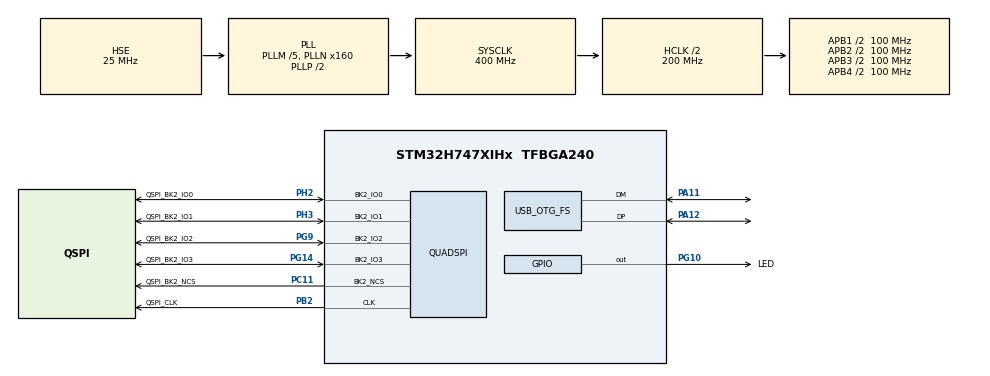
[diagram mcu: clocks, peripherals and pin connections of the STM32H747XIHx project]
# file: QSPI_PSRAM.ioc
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CORTEX_M7.AccessPermission_S-Cortex_Memory_Protection_Unit_Region2_Settings_S=MPU_REGION_FULL_ACCESS
CORTEX_M7.BaseAddress_S-Cortex_Memory_Protection_Unit_Region2_Settings_S=QSPI_BASE_ADDRESS
CORTEX_M7.CPU_DCache=Enabled
CORTEX_M7.CPU_ICache=Enabled
CORTEX_M7.DisableExec_S-Cortex_Memory_Protection_Unit_Region2_Settings_S=MPU_INSTRUCTION_ACCESS_DISABLE
CORTEX_M7.Enable_S-Cortex_Memory_Protection_Unit_Region2_Settings_S=MPU_REGION_ENABLE
CORTEX_M7.Enable_Spec=__NULL
CORTEX_M7.MPU_Control=MPU_PRIVILEGED_DEFAULT
CORTEX_M7.Size_S-Cortex_Memory_Protection_Unit_Region2_Settings_S=MPU_REGION_SIZE_8MB
CORTEX_M7.TypeExtField_S-Cortex_Memory_Protection_Unit_Region2_Settings_S=MPU_TEX_LEVEL1
CORTEX_M7.default_mode_Activation=1
CortexM4.IPs=CORTEX_M4\:I,FATFS_M4\:I,FREERTOS_M4\:I,IWDG2\:I,OPENAMP_M4\:I,PDM2PCM_M4\:I,PWR,RCC,RESMGR_UTILITY,SYS_M4\:I,USB_DEVICE_M4\:I,USB_HOST_M4\:I,VREFBUF,WWDG2\:I,GPIO,DMA,BDMA,MDMA,NVIC2\:I,DEBUG
CortexM7.IPs=CORTEX_M7\:I,FATFS_M7\:I,FREERTOS_M7\:I,IWDG1\:I,OPENAMP_M7\:I,PDM2PCM_M7\:I,PWR\:I,RCC\:I,RESMGR_UTILITY\:I,SYS\:I,USB_DEVICE_M7\:I,USB_HOST_M7\:I,VREFBUF\:I,WWDG1\:I,GPIO\:I,DMA\:I,BDMA\:I,MDMA\:I,NVIC1\:I,DEBUG\:I,QUADSPI\:I,USB_OTG_FS\:I
CortexM7.Pins=PG10
Mcu.Family=STM32H7
Mcu.Name=STM32H747XIHx
Mcu.Package=TFBGA240
Mcu.UserConstants=QSPI_BASE_ADDRESS-CortexM7,0x90000000;QSPI_FLASH_SIZE-CortexM7,22;QSPI_PRESCALE-CortexM7,2
Mdma.MDMA_Channel0.QUADSPI_FIFO_TH.0.BlockCount=0
Mdma.MDMA_Channel0.QUADSPI_FIFO_TH.0.BlockDataLength=0
Mdma.MDMA_Channel0.QUADSPI_FIFO_TH.0.BufferTransferLength=4
Mdma.MDMA_Channel0.QUADSPI_FIFO_TH.0.CircularMode=MDMA_LINEAR_LIST
Mdma.MDMA_Channel0.QUADSPI_FIFO_TH.0.DataAlignment=MDMA_DATAALIGN_PACKENABLE
Mdma.MDMA_Channel0.QUADSPI_FIFO_TH.0.DestBlockAddressOffset=0
Mdma.MDMA_Channel0.QUADSPI_FIFO_TH.0.DestBurst=MDMA_DEST_BURST_SINGLE
Mdma.MDMA_Channel0.QUADSPI_FIFO_TH.0.DestDataSize=MDMA_DEST_DATASIZE_BYTE
Mdma.MDMA_Channel0.QUADSPI_FIFO_TH.0.DestinationInc=MDMA_DEST_INC_DISABLE
Mdma.MDMA_Channel0.QUADSPI_FIFO_TH.0.DstAddress=0
Mdma.MDMA_Channel0.QUADSPI_FIFO_TH.0.Endianness=MDMA_LITTLE_ENDIANNESS_PRESERVE
Mdma.MDMA_Channel0.QUADSPI_FIFO_TH.0.Instance=MDMA_Channel0
Mdma.MDMA_Channel0.QUADSPI_FIFO_TH.0.MaskAddress=0
Mdma.MDMA_Channel0.QUADSPI_FIFO_TH.0.MaskData=0
Mdma.MDMA_Channel0.QUADSPI_FIFO_TH.0.Priority=MDMA_PRIORITY_LOW
Mdma.MDMA_Channel0.QUADSPI_FIFO_TH.0.Rank=First
Mdma.MDMA_Channel0.QUADSPI_FIFO_TH.0.SourceBlockAddressOffset=0
Mdma.MDMA_Channel0.QUADSPI_FIFO_TH.0.SourceBurst=MDMA_SOURCE_BURST_SINGLE
Mdma.MDMA_Channel0.QUADSPI_FIFO_TH.0.SourceDataSize=MDMA_SRC_DATASIZE_BYTE
Mdma.MDMA_Channel0.QUADSPI_FIFO_TH.0.SourceInc=MDMA_SRC_INC_BYTE
Mdma.MDMA_Channel0.QUADSPI_FIFO_TH.0.SrcAddress=0
Mdma.MDMA_Channel0.QUADSPI_FIFO_TH.0.TransferTriggerMode=MDMA_BUFFER_TRANSFER
Mdma.MDMA_Channel0.Request0=QUADSPI_FIFO_TH
Mdma.MDMA_Channel0.RequestsNb=1
Mdma.RequestSet0=MDMA_Channel0
Mdma.RequestSetsNb=1
NVIC1.MDMA_IRQn=true\:1\:0\:true\:false\:true\:false\:true\:true
NVIC1.OTG_FS_IRQn=true\:2\:0\:true\:false\:true\:false\:true\:true
NVIC1.PriorityGroup=NVIC_PRIORITYGROUP_4
NVIC1.QUADSPI_IRQn=true\:0\:0\:true\:false\:true\:true\:true\:true
NVIC2.PriorityGroup=NVIC_PRIORITYGROUP_4
PA11.Mode=Device_Only
PA11.PinAttribute=CortexM7
PA11.Signal=USB_OTG_FS_DM
PA12.Mode=Device_Only
PA12.PinAttribute=CortexM7
PA12.Signal=USB_OTG_FS_DP
PA13\ (JTMS/SWDIO).Mode=Serial_Wire
PA13\ (JTMS/SWDIO).PinAttribute=CortexM7
PA13\ (JTMS/SWDIO).Signal=DEBUG_JTMS-SWDIO
PA14\ (JTCK/SWCLK).Mode=Serial_Wire
PA14\ (JTCK/SWCLK).PinAttribute=CortexM7
PA14\ (JTCK/SWCLK).Signal=DEBUG_JTCK-SWCLK
PB2.GPIO_Label=QSPI_CLK
PB2.GPIO_Speed=GPIO_SPEED_FREQ_VERY_HIGH
PB2.Mode=Single Bank 2
PB2.PinAttribute=CortexM7
PB2.Signal=QUADSPI_CLK
PC11.GPIO_Label=QSPI_BK2_NCS
PC11.GPIO_PuPd=GPIO_PULLUP
PC11.GPIO_Speed=GPIO_SPEED_FREQ_VERY_HIGH
PC11.Mode=Single Bank 2
PC11.PinAttribute=CortexM7
PC11.Signal=QUADSPI_BK2_NCS
PC14-OSC32_IN\ (OSC32_IN).Mode=LSE-External-Oscillator
PC14-OSC32_IN\ (OSC32_IN).PinAttribute=Free
PC14-OSC32_IN\ (OSC32_IN).Signal=RCC_OSC32_IN
PC15-OSC32_OUT\ (OSC32_OUT).Mode=LSE-External-Oscillator
PC15-OSC32_OUT\ (OSC32_OUT).PinAttribute=Free
PC15-OSC32_OUT\ (OSC32_OUT).Signal=RCC_OSC32_OUT
PG10.GPIO_Label=LED
PG10.GPIO_ModeDefaultOutputPP=GPIO_MODE_OUTPUT_OD
PG10.GPIO_PuPd=GPIO_NOPULL
PG10.PinAttribute=CortexM7
PG10.PinState=GPIO_PIN_RESET
PG10.Signal=GPIO_Output
PG14.GPIO_Label=QSPI_BK2_IO3
PG14.GPIO_Speed=GPIO_SPEED_FREQ_VERY_HIGH
PG14.Mode=Single Bank 2
PG14.PinAttribute=CortexM7
PG14.Signal=QUADSPI_BK2_IO3
PG9.GPIO_Label=QSPI_BK2_IO2
PG9.GPIO_Speed=GPIO_SPEED_FREQ_VERY_HIGH
PG9.Mode=Single Bank 2
PG9.PinAttribute=CortexM7
PG9.Signal=QUADSPI_BK2_IO2
PH0-OSC_IN\ (PH0).Mode=HSE-External-Oscillator
PH0-OSC_IN\ (PH0).PinAttribute=Free
PH0-OSC_IN\ (PH0).Signal=RCC_OSC_IN
PH1-OSC_OUT\ (PH1).Mode=HSE-External-Oscillator
PH1-OSC_OUT\ (PH1).PinAttribute=Free
PH1-OSC_OUT\ (PH1).Signal=RCC_OSC_OUT
PH2.GPIO_Label=QSPI_BK2_IO0
PH2.GPIO_Speed=GPIO_SPEED_FREQ_VERY_HIGH
PH2.Mode=Single Bank 2
PH2.PinAttribute=CortexM7
PH2.Signal=QUADSPI_BK2_IO0
PH3.GPIO_Label=QSPI_BK2_IO1 
PH3.GPIO_Speed=GPIO_SPEED_FREQ_VERY_HIGH
PH3.Mode=Single Bank 2
PH3.PinAttribute=CortexM7
PH3.Signal=QUADSPI_BK2_IO1
ProjectManager.HeapSize=M4-0x0,M7-0x0
ProjectManager.StackSize=M4-0x400,M7-0x400
ProjectManager.TargetToolchain=MDK-ARM V5.32
QUADSPI.ChipSelectHighTime=QSPI_CS_HIGH_TIME_2_CYCLE
QUADSPI.ClockPrescaler=(QSPI_PRESCALE-1)
QUADSPI.DeviceType=SPI_DEVICE_RAM
QUADSPI.FifoThreshold=2
QUADSPI.FlashSize=QSPI_FLASH_SIZE
QUADSPI.SampleShifting=QSPI_SAMPLE_SHIFTING_HALFCYCLE
RCC.ADCFreq_Value=20000000
RCC.APB1Freq_Value=100000000
RCC.APB2Freq_Value=100000000
RCC.APB3Freq_Value=100000000
RCC.APB4Freq_Value=100000000
RCC.CortexFreq_Value=400000000
RCC.D1PPRE=RCC_APB3_DIV2
RCC.D2PPRE1=RCC_APB1_DIV2
RCC.D2PPRE2=RCC_APB2_DIV2
RCC.D3PPRE=RCC_APB4_DIV2
RCC.DIVM1=5
RCC.DIVM2=5
RCC.DIVM3=5
RCC.DIVN1=160
RCC.DIVN2=8
RCC.DIVN3=96
RCC.DIVQ1=5
RCC.DIVQ3=10
RCC.HCLKFreq_Value=200000000
RCC.HPRE=RCC_HCLK_DIV2
RCC.PLL2FRACN=0
RCC.PLL3FRACN=0
RCC.PLLFRACN=0
RCC.PLLSourceVirtual=RCC_PLLSOURCE_HSE
RCC.PWR_Regulator_Voltage_Scale=PWR_REGULATOR_VOLTAGE_SCALE1
RCC.QSPICLockSelection=RCC_QSPICLKSOURCE_PLL
RCC.SYSCLKFreq_VALUE=400000000
RCC.SYSCLKSource=RCC_SYSCLKSOURCE_PLLCLK
RCC.SupplySource=PWR_SMPS_1V8_SUPPLIES_EXT_AND_LDO
RCC.USBCLockSelection=RCC_USBCLKSOURCE_PLL3
RCC.USBFreq_Value=48000000
SYS.userName=SYS_M7
USB_DEVICE_M7.APP_RX_DATA_SIZE-CDC_FS=64
USB_DEVICE_M7.APP_TX_DATA_SIZE-CDC_FS=1024
USB_DEVICE_M7.CLASS_NAME_FS=CDC
USB_DEVICE_M7.VirtualMode-CDC_FS=Cdc
USB_DEVICE_M7.VirtualModeFS=Cdc_FS
USB_OTG_FS.VirtualMode=Device_Only
VP_SYS_M4_VS_Systick.Mode=SysTick
VP_USB_DEVICE_M7_VS_USB_DEVICE_CDC_FS.Mode=CDC_FS
board=custom

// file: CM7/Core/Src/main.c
/* USER CODE BEGIN Header */
/**
  ******************************************************************************
  * @file           : main.c
  * @brief          : Main program body
  ******************************************************************************
  * @attention
  *
  * Copyright (c) 2025 STMicroelectronics.
  * All rights reserved.
  *
  * This software is licensed under terms that can be found in the LICENSE file
  * in the root directory of this software component.
  * If no LICENSE file comes with this software, it is provided AS-IS.
  *
  ******************************************************************************
  */
/* USER CODE END Header */
#include "main.h"
#include "mdma.h"
#include "quadspi.h"
#include "usb_device.h"
#include "gpio.h"

/* USER CODE BEGIN PD */

#ifndef HSEM_ID_0
#define HSEM_ID_0 (0U) /* HW semaphore 0*/
#endif

/* USER CODE END PD */

void SystemClock_Config(void);
static void MPU_Config(void);

int main(void)
{

/* USER CODE BEGIN Boot_Mode_Sequence_0 */

/* USER CODE END Boot_Mode_Sequence_0 */

  /* MPU Configuration--------------------------------------------------------*/
  MPU_Config();

  /* Enable the CPU Cache */

  /* Enable I-Cache---------------------------------------------------------*/
  SCB_EnableICache();

  /* Enable D-Cache---------------------------------------------------------*/
  SCB_EnableDCache();

/* USER CODE BEGIN Boot_Mode_Sequence_1 */

	/* Wait until CPU2 boots and enters in stop mode or timeout*/
	{
		int32_t timeout = 0xFFFF;
		while((__HAL_RCC_GET_FLAG(RCC_FLAG_D2CKRDY) != RESET) && (timeout-- > 0));
		if ( timeout < 0 )
		{
			Error_Handler();
		}
	}

/* USER CODE END Boot_Mode_Sequence_1 */
  /* MCU Configuration--------------------------------------------------------*/

  /* Reset of all peripherals, Initializes the Flash interface and the Systick. */
  HAL_Init();

  /* Configure the system clock */
  SystemClock_Config();
/* USER CODE BEGIN Boot_Mode_Sequence_2 */

	{
		/* When system initialization is finished, Cortex-M7 will release Cortex-M4 by means of HSEM notification */
		/* HW semaphore Clock enable */
		__HAL_RCC_HSEM_CLK_ENABLE();

		/* Take HSEM */
		HAL_HSEM_FastTake(HSEM_ID_0);

		/* Release HSEM in order to notify the CPU2(CM4) */
		HAL_HSEM_Release(HSEM_ID_0,0);

		/* wait until CPU2 wakes up from stop mode */
		int32_t timeout = 0xFFFF;
		while((__HAL_RCC_GET_FLAG(RCC_FLAG_D2CKRDY) == RESET) && (timeout-- > 0));
		if ( timeout < 0 )
		{
			Error_Handler();
		}
	}
/* USER CODE END Boot_Mode_Sequence_2 */

  /* Initialize all configured peripherals */
  MX_GPIO_Init();
  MX_MDMA_Init();
  MX_QUADSPI_Init();
  MX_USB_DEVICE_Init();
  /* USER CODE BEGIN 2 */

	{
#define PSRAM_BLOCK_SIZE	1024
		static uint8_t psram_buffer[PSRAM_BLOCK_SIZE];
		uint32_t psram_size = 1 << (QSPI_FLASH_SIZE + 0);
		uint32_t address, block;
		uint8_t mask = 0x55;

		block = 0;
		address = 0;

		while (address < psram_size)
		{
			for (int idx = 0; idx < PSRAM_BLOCK_SIZE; idx++)
			{
				psram_buffer[idx] = (((idx + block) ^ mask) & 0xFF);
				mask ^= 0xAA;
			}
			if (QSPI_PSRAM_Write(address, psram_buffer, PSRAM_BLOCK_SIZE) != HAL_OK)
				__BKPT(0);
			while (hqspi.State != HAL_QSPI_STATE_READY)
				__NOP();
			address += PSRAM_BLOCK_SIZE;
			block++;
		}

		block = 0;
		address = 0;
		while (address < psram_size)
		{
			if (QSPI_PSRAM_Read(address, psram_buffer, PSRAM_BLOCK_SIZE) != HAL_OK)
				__BKPT(0);
			while (hqspi.State != HAL_QSPI_STATE_READY)
				__NOP();
			for (int idx = 0; idx < PSRAM_BLOCK_SIZE; idx++)
			{
				if (psram_buffer[idx] != (((idx + block) ^ mask) & 0xFF))
					__NOP();
				mask ^= 0xAA;
			}
			address += PSRAM_BLOCK_SIZE;
			block++;
		}
	}
	QSPI_PSRAM_StartMemoryMapped();

  /* USER CODE END 2 */

  /* Infinite loop */
  /* USER CODE BEGIN WHILE */

	uint32_t  lastTick = HAL_GetTick();
	uint32_t  newTick = lastTick;
	uint32_t  ledTick = lastTick;

	for (;;)
	{
		newTick = HAL_GetTick();
		if (newTick != lastTick)
		{
			lastTick = newTick;
			void SendTxUSB(void);
			SendTxUSB();
		}
		if ((newTick - ledTick) > 500)
		{
			ledTick = newTick;
			HAL_GPIO_TogglePin(LED_GPIO_Port, LED_Pin);
		}

    /* USER CODE END WHILE */

	}
}

void SystemClock_Config(void)
{
  RCC_OscInitTypeDef RCC_OscInitStruct = {0};
  RCC_ClkInitTypeDef RCC_ClkInitStruct = {0};

  /** Supply configuration update enable
  */
  HAL_PWREx_ConfigSupply(PWR_SMPS_1V8_SUPPLIES_EXT_AND_LDO);

  /** Configure the main internal regulator output voltage
  */
  __HAL_PWR_VOLTAGESCALING_CONFIG(PWR_REGULATOR_VOLTAGE_SCALE1);

  while(!__HAL_PWR_GET_FLAG(PWR_FLAG_VOSRDY)) {}

  /** Initializes the RCC Oscillators according to the specified parameters
  * in the RCC_OscInitTypeDef structure.
  */
  RCC_OscInitStruct.OscillatorType = RCC_OSCILLATORTYPE_HSE;
  RCC_OscInitStruct.HSEState = RCC_HSE_ON;
  RCC_OscInitStruct.PLL.PLLState = RCC_PLL_ON;
  RCC_OscInitStruct.PLL.PLLSource = RCC_PLLSOURCE_HSE;
  RCC_OscInitStruct.PLL.PLLM = 5;
  RCC_OscInitStruct.PLL.PLLN = 160;
  RCC_OscInitStruct.PLL.PLLP = 2;
  RCC_OscInitStruct.PLL.PLLQ = 5;
  RCC_OscInitStruct.PLL.PLLR = 2;
  RCC_OscInitStruct.PLL.PLLRGE = RCC_PLL1VCIRANGE_2;
  RCC_OscInitStruct.PLL.PLLVCOSEL = RCC_PLL1VCOWIDE;
  RCC_OscInitStruct.PLL.PLLFRACN = 0;
  if (HAL_RCC_OscConfig(&RCC_OscInitStruct) != HAL_OK)
  {
    Error_Handler();
  }

  /** Initializes the CPU, AHB and APB buses clocks
  */
  RCC_ClkInitStruct.ClockType = RCC_CLOCKTYPE_HCLK|RCC_CLOCKTYPE_SYSCLK
                              |RCC_CLOCKTYPE_PCLK1|RCC_CLOCKTYPE_PCLK2
                              |RCC_CLOCKTYPE_D3PCLK1|RCC_CLOCKTYPE_D1PCLK1;
  RCC_ClkInitStruct.SYSCLKSource = RCC_SYSCLKSOURCE_PLLCLK;
  RCC_ClkInitStruct.SYSCLKDivider = RCC_SYSCLK_DIV1;
  RCC_ClkInitStruct.AHBCLKDivider = RCC_HCLK_DIV2;
  RCC_ClkInitStruct.APB3CLKDivider = RCC_APB3_DIV2;
  RCC_ClkInitStruct.APB1CLKDivider = RCC_APB1_DIV2;
  RCC_ClkInitStruct.APB2CLKDivider = RCC_APB2_DIV2;
  RCC_ClkInitStruct.APB4CLKDivider = RCC_APB4_DIV2;

  if (HAL_RCC_ClockConfig(&RCC_ClkInitStruct, FLASH_LATENCY_2) != HAL_OK)
  {
    Error_Handler();
  }
}

 /* MPU Configuration */

void MPU_Config(void)
{
  MPU_Region_InitTypeDef MPU_InitStruct = {0};

  /* Disables the MPU */
  HAL_MPU_Disable();

  /** Initializes and configures the Region and the memory to be protected
  */
  MPU_InitStruct.Enable = MPU_REGION_ENABLE;
  MPU_InitStruct.BaseAddress = QSPI_BASE_ADDRESS;
  MPU_InitStruct.Size = MPU_REGION_SIZE_8MB;
  MPU_InitStruct.SubRegionDisable = 0x0;
  MPU_InitStruct.TypeExtField = MPU_TEX_LEVEL1;
  MPU_InitStruct.AccessPermission = MPU_REGION_FULL_ACCESS;
  MPU_InitStruct.DisableExec = MPU_INSTRUCTION_ACCESS_DISABLE;
  MPU_InitStruct.IsShareable = MPU_ACCESS_NOT_SHAREABLE;
  MPU_InitStruct.IsCacheable = MPU_ACCESS_NOT_CACHEABLE;
  MPU_InitStruct.IsBufferable = MPU_ACCESS_NOT_BUFFERABLE;

  HAL_MPU_ConfigRegion(&MPU_InitStruct);
  /* Enables the MPU */
  HAL_MPU_Enable(MPU_PRIVILEGED_DEFAULT);

}

void Error_Handler(void)
{
  /* USER CODE BEGIN Error_Handler_Debug */
	/* User can add his own implementation to report the HAL error return state */
	__disable_irq();
	__BKPT(0);
	HAL_GPIO_WritePin(LED_GPIO_Port, LED_Pin, GPIO_PIN_RESET);
	volatile int stop = 1;
	while (stop)
	{
		__NOP();
	}

  /* USER CODE END Error_Handler_Debug */
}
